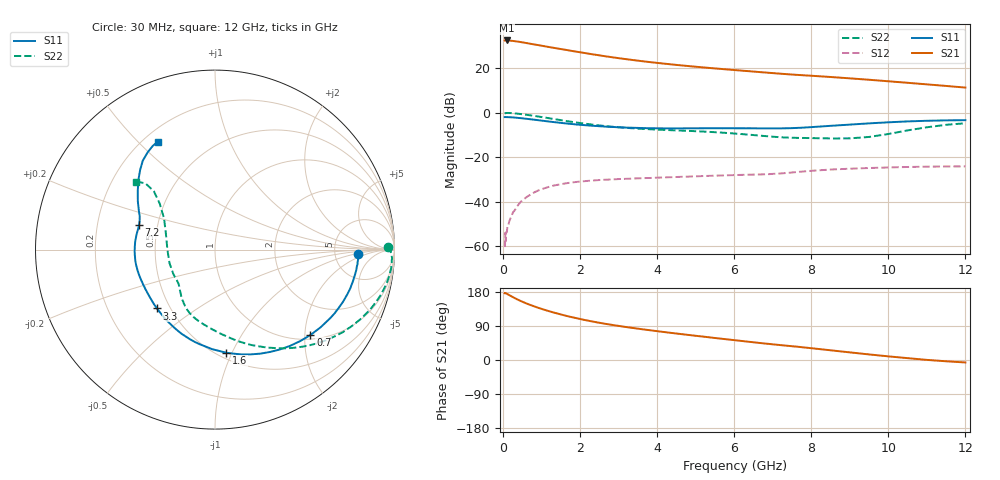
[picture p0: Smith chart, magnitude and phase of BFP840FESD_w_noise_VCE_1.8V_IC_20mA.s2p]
! Infineon Technologies  Discrete & RF Semiconductors
! BFP840FESD
! VCE =  1.8 V,  IC =  20 mA
! Common Emitter S-Parameters:  May 2012
# GHz  S  MA  R  50
!  f  S11  S21  S12  S22
! GHz  MAG  ANG  MAG  ANG  MAG  ANG  MAG  ANG
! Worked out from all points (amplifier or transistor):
!   103 points, 30 MHz to 12 GHz, reference 50 ohm
!   highest |S21| = 32.5 dB at 80 MHz (marker M1)
!   |S21| within 3 dB of that: start of sweep to 1.2 GHz
!   unconditionally stable (mu >= 1): 5.863 GHz to end of sweep
!   at 400 MHz: K = 0.15, MSG = 36.5 dB, |S12| = -41.1 dB
!   at 3.7 GHz: K = 0.73, MSG = 26.2 dB, |S12| = -29.4 dB
!   at 12 GHz: K = 1.10, MAG = 15.8 dB, |S12| = -24.1 dB
!   lowest NFmin = 0.89 dB at 450 MHz
!   S11 on the Smith chart (normalised r, x): 30 MHz: 8.74, -1.21; 700 MHz: 1.10, -2.14; 1.6 GHz: 0.55, -0.95; 3.3 GHz: 0.42, -0.35; 7.2 GHz: 0.39, +0.13; 12 GHz: 0.26, +0.57
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0.03  0.7981 -1.8  42.07 176.3  0.0011 89.6  0.9637 1.0
0.04  0.798 -2.5  42.09 175.8  0.001 93.1  0.9719 0.3
0.05  0.7997 -3.2  42.11 176.8  0.002 74.5  0.979 -0.3
0.08  0.7973 -5.2  42.15 175.2  0.0021 82.3  0.9854 -2.2
0.25  0.7839 -16.1  41.06 165.7  0.0058 80.8  0.9748 -11.1
0.4  0.762 -25.2  39.37 158.0  0.0088 76.2  0.9451 -17.7
0.6  0.7304 -36.4  36.8 149.1  0.0127 70.4  0.8981 -25.6
0.7  0.7136 -41.8  35.5 145.2  0.0144 67.6  0.8734 -29.2
0.9  0.68 -52.1  33.16 137.9  0.0178 62.7  0.8226 -36.1
1.1  0.6473 -61.8  30.87 131.4  0.0205 58.1  0.7729 -42.5
1.3  0.6172 -71.0  28.84 125.4  0.023 54.1  0.7246 -48.4
1.6  0.5781 -83.8  26.1 117.3  0.0257 49.0  0.6588 -56.6
2.1  0.5266 -102.3  22.07 105.8  0.0289 42.8  0.5703 -68.9
2.6  0.4911 -117.4  18.86 96.3  0.0311 38.7  0.5069 -79.0
3.3  0.4606 -134.6  15.54 85.4  0.0329 35.5  0.4501 -90.5
4.1  0.446 -150.6  12.9 74.7  0.0349 34.0  0.414 -101.0
5  0.4468 -165.2  10.8 63.8  0.0372 33.6  0.3838 -110.8
6.1  0.447 179.3  8.973 51.2  0.0399 33.6  0.3359 -122.5
7.2  0.4452 162.0  7.536 39.3  0.0431 36.8  0.2813 -135.8
8.5  0.5076 147.9  6.358 25.6  0.0528 34.8  0.2644 -163.5
10.5  0.6382 129.1  4.709 4.9  0.0603 27.5  0.4009 140.2
12  0.6807 118.0  3.675 -6.5  0.0621 24.7  0.5797 139.2
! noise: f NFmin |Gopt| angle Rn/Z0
0.45  0.89  0.1  3  0.13
0.9  0.92  0.1  10  0.14
1.5  0.93  0.09  16  0.13
1.9  0.94  0.08  31  0.13
2.4  0.94  0.08  51  0.14
3.5  0.94  0.08  87  0.14
5.5  1  0.08  160  0.12
8  1.1  0.11  -155  0.14
10  1.2  0.28  -116  0.17
12  1.39  0.44  -101  0.2
